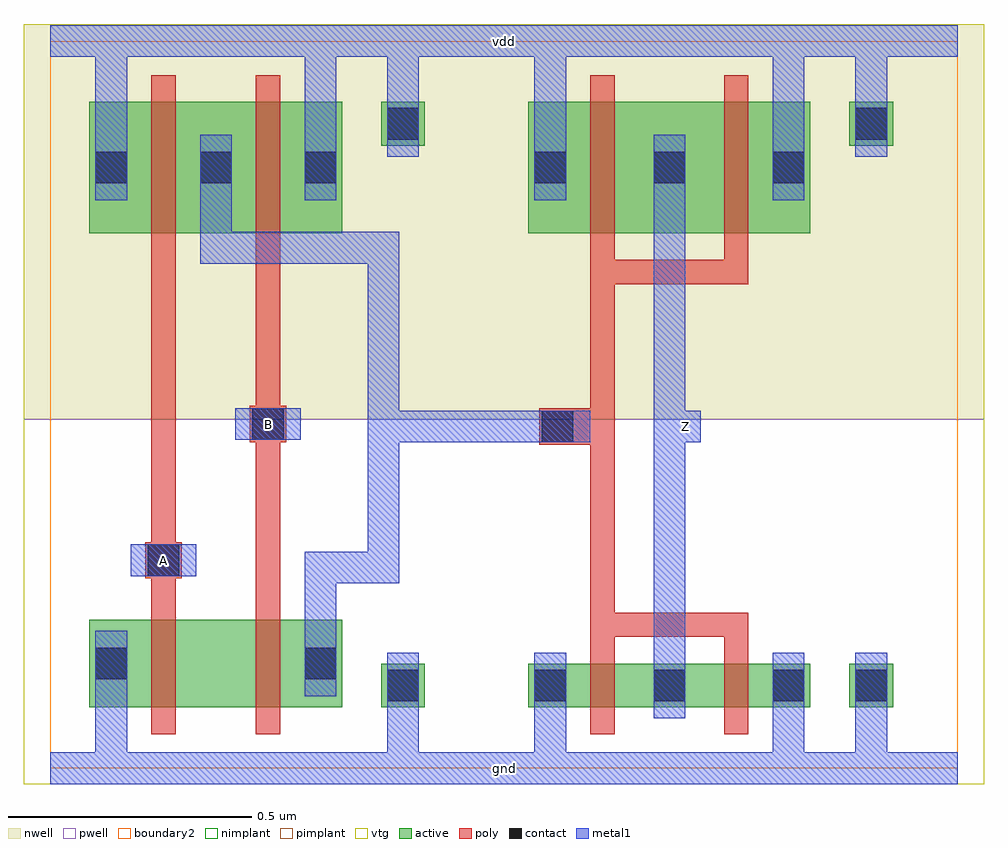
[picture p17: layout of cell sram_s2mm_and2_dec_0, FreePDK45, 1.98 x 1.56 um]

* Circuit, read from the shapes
.subckt sram_s2mm_and2_dec_0 A B Z gnd vdd
M1 sram_s2mm_pnand2_0/sram_s2mm_nmos_m1_w0_180_sm1_dactive_2/D A gnd gnd nfet w=0.18u l=0.05u
M2 sram_s2mm_pinv_0_1/A B sram_s2mm_pnand2_0/sram_s2mm_nmos_m1_w0_180_sm1_dactive_2/D gnd nfet w=0.18u l=0.05u
M3 Z sram_s2mm_pinv_0_1/A gnd gnd nfet w=0.09u l=0.05u m=2
M4 sram_s2mm_pinv_0_1/A A vdd vdd pfet w=0.27u l=0.05u
M5 vdd B sram_s2mm_pinv_0_1/A vdd pfet w=0.27u l=0.05u
M6 Z sram_s2mm_pinv_0_1/A vdd vdd pfet w=0.27u l=0.05u m=2
.ends

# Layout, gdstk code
import gdstk
lib = gdstk.Library(unit=1e-6, precision=5e-10)
def R(c, l, rs):  # rectangles x0, y0, x1, y1
    for r in rs: c.add(gdstk.rectangle(r[:2], r[2:], *l))
def A(c, l, x, y, w, h, nx, ny, dx, dy):  # array of equal rectangles
    R(c, l, [(x+i*dx, y+j*dy, x+i*dx+w, y+j*dy+h) for i in range(nx) for j in range(ny)])
active = (1, 0)
pwell = (2, 0)
nwell = (3, 0)
nimplant = (4, 0)
pimplant = (5, 0)
vtg = (6, 0)
poly = (9, 0)
contact = (10, 0)
metal1 = (11, 0)
boundary2 = (239, 0)

sram_s2mm_contact_11 = lib.new_cell('sram_s2mm_contact_11')
R(sram_s2mm_contact_11, active, [(0,0.0225,0.09,0.1125)])
R(sram_s2mm_contact_11, nwell, [(-0.055,-0.0325,0.145,0.1675)])
R(sram_s2mm_contact_11, pimplant, [(0,0.0225,0.09,0.1125)])
R(sram_s2mm_contact_11, contact, [(0.0125,0.035,0.0775,0.1)])
R(sram_s2mm_contact_11, metal1, [(0.0125,0,0.0775,0.135)])
R(sram_s2mm_contact_11, boundary2, [(-0.055,-0.0325,0.145,0.1675)])

sram_s2mm_pmos_m1_w0_270 = lib.new_cell('sram_s2mm_pmos_m1_w0_270_sm1_dm1')
R(sram_s2mm_pmos_m1_w0_270, active, [(0,0,0.305,0.27)])
R(sram_s2mm_pmos_m1_w0_270, nwell, [(-0.08,-0.08,0.385,0.35)])
R(sram_s2mm_pmos_m1_w0_270, pimplant, [(0,0,0.305,0.27)])
R(sram_s2mm_pmos_m1_w0_270, vtg, [(-0.08,-0.08,0.385,0.35)])
R(sram_s2mm_pmos_m1_w0_270, poly, [(0.1275,-0.055,0.1775,0.325), (0.1275,-0.055,0.1775,0.325)])
R(sram_s2mm_pmos_m1_w0_270, metal1, [(0.0125,0.0675,0.0775,0.2025), (0.2275,0.0675,0.2925,0.2025)])
R(sram_s2mm_pmos_m1_w0_270, boundary2, [(-0.08,-0.08,0.385,0.35)])
sram_s2mm_pmos_m1_w0_270.add(gdstk.Reference(sram_s2mm_contact_11, (0,0.0675)))
sram_s2mm_pmos_m1_w0_270.add(gdstk.Reference(sram_s2mm_contact_11, (0.215,0.0675)))
sram_s2mm_pmos_m1_w0_270.add(gdstk.Label('G', (0.1525,0.135), layer=9, texttype=0))
sram_s2mm_pmos_m1_w0_270.add(gdstk.Label('S', (0.045,0.135), layer=11, texttype=0))
sram_s2mm_pmos_m1_w0_270.add(gdstk.Label('D', (0.26,0.135), layer=11, texttype=0))

sram_s2mm_contact_10 = lib.new_cell('sram_s2mm_contact_10')
R(sram_s2mm_contact_10, active, [(0,0.0225,0.09,0.1125)])
R(sram_s2mm_contact_10, pwell, [(-0.055,-0.0325,0.145,0.1675)])
R(sram_s2mm_contact_10, nimplant, [(0,0.0225,0.09,0.1125)])
R(sram_s2mm_contact_10, contact, [(0.0125,0.035,0.0775,0.1)])
R(sram_s2mm_contact_10, metal1, [(0.0125,0,0.0775,0.135)])
R(sram_s2mm_contact_10, boundary2, [(-0.055,-0.0325,0.145,0.1675)])

sram_s2mm_nmos_m1_w0_180 = lib.new_cell('sram_s2mm_nmos_m1_w0_180_sm1_dactive')
R(sram_s2mm_nmos_m1_w0_180, active, [(0,0,0.305,0.18), (0.215,0.045,0.305,0.135)])
R(sram_s2mm_nmos_m1_w0_180, pwell, [(-0.08,-0.08,0.385,0.26)])
R(sram_s2mm_nmos_m1_w0_180, nimplant, [(0,0,0.305,0.18)])
R(sram_s2mm_nmos_m1_w0_180, vtg, [(-0.08,-0.08,0.385,0.26)])
R(sram_s2mm_nmos_m1_w0_180, poly, [(0.1275,-0.055,0.1775,0.235), (0.1275,-0.055,0.1775,0.235)])
R(sram_s2mm_nmos_m1_w0_180, metal1, [(0.0125,0.0225,0.0775,0.1575)])
R(sram_s2mm_nmos_m1_w0_180, boundary2, [(-0.08,-0.08,0.385,0.26)])
sram_s2mm_nmos_m1_w0_180.add(gdstk.Reference(sram_s2mm_contact_10, (0,0.0225)))
sram_s2mm_nmos_m1_w0_180.add(gdstk.Label('G', (0.1525,0.09), layer=9, texttype=0))
sram_s2mm_nmos_m1_w0_180.add(gdstk.Label('S', (0.045,0.09), layer=11, texttype=0))
sram_s2mm_nmos_m1_w0_180.add(gdstk.Label('D', (0.26,0.09), layer=1, texttype=0))

c_sram_s2mm_nmos_m1_w0_180 = lib.new_cell('sram_s2mm_nmos_m1_w0_180_sactive_dm1')
R(c_sram_s2mm_nmos_m1_w0_180, active, [(0,0,0.305,0.18), (0,0.045,0.09,0.135)])
R(c_sram_s2mm_nmos_m1_w0_180, pwell, [(-0.08,-0.08,0.385,0.26)])
R(c_sram_s2mm_nmos_m1_w0_180, nimplant, [(0,0,0.305,0.18)])
R(c_sram_s2mm_nmos_m1_w0_180, vtg, [(-0.08,-0.08,0.385,0.26)])
R(c_sram_s2mm_nmos_m1_w0_180, poly, [(0.1275,-0.055,0.1775,0.235), (0.1275,-0.055,0.1775,0.235)])
R(c_sram_s2mm_nmos_m1_w0_180, metal1, [(0.2275,0.0225,0.2925,0.1575)])
R(c_sram_s2mm_nmos_m1_w0_180, boundary2, [(-0.08,-0.08,0.385,0.26)])
c_sram_s2mm_nmos_m1_w0_180.add(gdstk.Reference(sram_s2mm_contact_10, (0.215,0.0225)))
c_sram_s2mm_nmos_m1_w0_180.add(gdstk.Label('G', (0.1525,0.09), layer=9, texttype=0))
c_sram_s2mm_nmos_m1_w0_180.add(gdstk.Label('S', (0.045,0.09), layer=1, texttype=0))
c_sram_s2mm_nmos_m1_w0_180.add(gdstk.Label('D', (0.26,0.09), layer=11, texttype=0))

sram_s2mm_contact_12 = lib.new_cell('sram_s2mm_contact_12')
R(sram_s2mm_contact_12, active, [(0,0.0225,0.09,0.1125)])
R(sram_s2mm_contact_12, nwell, [(-0.055,-0.0325,0.145,0.1675)])
R(sram_s2mm_contact_12, nimplant, [(0,0.0225,0.09,0.1125)])
R(sram_s2mm_contact_12, contact, [(0.0125,0.035,0.0775,0.1)])
R(sram_s2mm_contact_12, metal1, [(0.0125,0,0.0775,0.135)])
R(sram_s2mm_contact_12, boundary2, [(-0.055,-0.0325,0.145,0.1675)])

sram_s2mm_contact_13 = lib.new_cell('sram_s2mm_contact_13')
R(sram_s2mm_contact_13, active, [(0,0.0225,0.09,0.1125)])
R(sram_s2mm_contact_13, pwell, [(-0.055,-0.0325,0.145,0.1675)])
R(sram_s2mm_contact_13, pimplant, [(0,0.0225,0.09,0.1125)])
R(sram_s2mm_contact_13, contact, [(0.0125,0.035,0.0775,0.1)])
R(sram_s2mm_contact_13, metal1, [(0.0125,0,0.0775,0.135)])
R(sram_s2mm_contact_13, boundary2, [(-0.055,-0.0325,0.145,0.1675)])

sram_s2mm_contact_14 = lib.new_cell('sram_s2mm_contact_14')
R(sram_s2mm_contact_14, poly, [(0.03,0,0.105,0.075)])
R(sram_s2mm_contact_14, contact, [(0.035,0.005,0.1,0.07)])
R(sram_s2mm_contact_14, metal1, [(0,0.005,0.135,0.07)])
R(sram_s2mm_contact_14, boundary2, [(0,0,0.135,0.075)])

sram_s2mm_pnand2 = lib.new_cell('sram_s2mm_pnand2')
R(sram_s2mm_pnand2, pwell, [(-0.055,-0.0325,0.9575,0.7175)])
R(sram_s2mm_pnand2, nwell, [(-0.055,0.7175,0.9575,1.53)])
R(sram_s2mm_pnand2, vtg, [(-0.055,-0.0325,0.9575,0.7175), (-0.055,0.7175,0.9575,1.53)])
R(sram_s2mm_pnand2, poly, [(0.2075,0.36,0.2575,1.045), (0.4225,0.36,0.4725,1.045), (0.2075,0.39,0.2325,0.465), (0.4225,0.67,0.4475,0.745)])
R(sram_s2mm_pnand2, metal1, [(0,-0.0325,0.9025,0.0325), (0.0925,-0.0325,0.1575,0.1475), (0.6925,0,0.7575,0.17), (0.5225,0.2825,0.5875,0.4125), (0.5225,0.38,0.5875,0.445), (0.555,0.38,0.685,0.445), (0.6525,0.38,0.7175,0.445), (0.165,0.395,0.3,0.46), (0.6525,0.4125,0.7175,1.07), (0.38,0.675,0.515,0.74), (0.3075,1.0375,0.3725,1.1025), (0.34,1.0375,0.685,1.1025), (0.6525,1.0375,0.7175,1.1025), (0.3075,1.07,0.3725,1.1675), (0.0925,1.1675,0.1575,1.5275), (0.5225,1.1675,0.5875,1.5275), (0.6925,1.325,0.7575,1.495), (0,1.4625,0.9025,1.5275)])
R(sram_s2mm_pnand2, boundary2, [(0,0,0.9025,1.495), (0,0,0.9025,1.495)])
sram_s2mm_pnand2.add(gdstk.Reference(sram_s2mm_pmos_m1_w0_270, (0.08,1.1)))
sram_s2mm_pnand2.add(gdstk.Reference(sram_s2mm_pmos_m1_w0_270, (0.295,1.1)))
sram_s2mm_pnand2.add(gdstk.Reference(sram_s2mm_nmos_m1_w0_180, (0.08,0.125)))
sram_s2mm_pnand2.add(gdstk.Reference(c_sram_s2mm_nmos_m1_w0_180, (0.295,0.125)))
sram_s2mm_pnand2.add(gdstk.Reference(sram_s2mm_contact_12, (0.68,1.2575)))
sram_s2mm_pnand2.add(gdstk.Reference(sram_s2mm_contact_13, (0.68,0.1025)))
sram_s2mm_pnand2.add(gdstk.Reference(sram_s2mm_contact_14, (0.165,0.39)))
sram_s2mm_pnand2.add(gdstk.Reference(sram_s2mm_contact_14, (0.38,0.67)))
sram_s2mm_pnand2.add(gdstk.Label('Z', (0.685,1.07), layer=11, texttype=0))
sram_s2mm_pnand2.add(gdstk.Label('gnd', (0.451,0), layer=11, texttype=0))
sram_s2mm_pnand2.add(gdstk.Label('vdd', (0.451,1.495), layer=11, texttype=0))
sram_s2mm_pnand2.add(gdstk.Label('A', (0.2325,0.4275), layer=11, texttype=0))
sram_s2mm_pnand2.add(gdstk.Label('B', (0.4475,0.7075), layer=11, texttype=0))

sram_s2mm_pmos_m2_w0_270 = lib.new_cell('sram_s2mm_pmos_m2_w0_270_sm1_dm1_da_p')
R(sram_s2mm_pmos_m2_w0_270, active, [(0,0,0.58,0.27)])
R(sram_s2mm_pmos_m2_w0_270, nwell, [(-0.08,-0.08,0.66,0.35)])
R(sram_s2mm_pmos_m2_w0_270, pimplant, [(0,0,0.58,0.27)])
R(sram_s2mm_pmos_m2_w0_270, vtg, [(-0.08,-0.08,0.66,0.35)])
R(sram_s2mm_pmos_m2_w0_270, poly, [(0.1275,-0.105,0.4525,-0.055), (0.1275,-0.055,0.1775,0.325), (0.4025,-0.055,0.4525,0.325)])
A(sram_s2mm_pmos_m2_w0_270, metal1, 0.0125, 0.0675, 0.065, 0.135, 3, 1, 0.245, 0)
R(sram_s2mm_pmos_m2_w0_270, boundary2, [(-0.08,-0.105,0.66,0.35)])
sram_s2mm_pmos_m2_w0_270.add(gdstk.Reference(sram_s2mm_contact_11, (0,0.0675)))
sram_s2mm_pmos_m2_w0_270.add(gdstk.Reference(sram_s2mm_contact_11, (0.245,0.0675)))
sram_s2mm_pmos_m2_w0_270.add(gdstk.Reference(sram_s2mm_contact_11, (0.49,0.0675)))
sram_s2mm_pmos_m2_w0_270.add(gdstk.Label('G', (0.29,-0.08), layer=9, texttype=0))
sram_s2mm_pmos_m2_w0_270.add(gdstk.Label('S', (0.535,0.135), layer=11, texttype=0))
sram_s2mm_pmos_m2_w0_270.add(gdstk.Label('S', (0.045,0.135), layer=11, texttype=0))
sram_s2mm_pmos_m2_w0_270.add(gdstk.Label('D', (0.29,0.135), layer=11, texttype=0))

sram_s2mm_nmos_m2_w0_090 = lib.new_cell('sram_s2mm_nmos_m2_w0_090_sm1_dm1_da_p')
R(sram_s2mm_nmos_m2_w0_090, active, [(0,0,0.58,0.09)])
R(sram_s2mm_nmos_m2_w0_090, pwell, [(-0.08,-0.08,0.66,0.17)])
R(sram_s2mm_nmos_m2_w0_090, nimplant, [(0,0,0.58,0.09)])
R(sram_s2mm_nmos_m2_w0_090, vtg, [(-0.08,-0.08,0.66,0.17)])
R(sram_s2mm_nmos_m2_w0_090, poly, [(0.1275,-0.055,0.1775,0.145), (0.4025,-0.055,0.4525,0.145), (0.1275,0.145,0.4525,0.195)])
A(sram_s2mm_nmos_m2_w0_090, metal1, 0.0125, -0.0225, 0.065, 0.135, 3, 1, 0.245, 0)
R(sram_s2mm_nmos_m2_w0_090, boundary2, [(-0.08,-0.08,0.66,0.195)])
sram_s2mm_nmos_m2_w0_090.add(gdstk.Reference(sram_s2mm_contact_10, (0,-0.0225)))
sram_s2mm_nmos_m2_w0_090.add(gdstk.Reference(sram_s2mm_contact_10, (0.245,-0.0225)))
sram_s2mm_nmos_m2_w0_090.add(gdstk.Reference(sram_s2mm_contact_10, (0.49,-0.0225)))
sram_s2mm_nmos_m2_w0_090.add(gdstk.Label('G', (0.29,0.17), layer=9, texttype=0))
sram_s2mm_nmos_m2_w0_090.add(gdstk.Label('S', (0.535,0.045), layer=11, texttype=0))
sram_s2mm_nmos_m2_w0_090.add(gdstk.Label('S', (0.045,0.045), layer=11, texttype=0))
sram_s2mm_nmos_m2_w0_090.add(gdstk.Label('D', (0.29,0.045), layer=11, texttype=0))

sram_s2mm_pinv_0 = lib.new_cell('sram_s2mm_pinv_0')
R(sram_s2mm_pinv_0, pwell, [(-0.055,-0.0325,1.0175,0.7175)])
R(sram_s2mm_pinv_0, nwell, [(-0.055,0.7175,1.0175,1.53)])
R(sram_s2mm_pinv_0, vtg, [(-0.055,-0.0325,1.0175,0.7175), (-0.055,0.7175,1.0175,1.53)])
R(sram_s2mm_pinv_0, poly, [(0.2075,0.32,0.2575,0.995), (0.14,0.665,0.2075,0.74)])
R(sram_s2mm_pinv_0, metal1, [(0,-0.0325,0.9625,0.0325), (0.0925,-0.0325,0.1575,0.1025), (0.5825,-0.0325,0.6475,0.1025), (0.7525,0,0.8175,0.17), (0.3375,0.1025,0.4025,1.3025), (0.0725,0.67,0.2075,0.735), (0.37,0.67,0.435,0.735), (0.0925,1.1675,0.1575,1.5275), (0.5825,1.1675,0.6475,1.5275), (0.7525,1.325,0.8175,1.495), (0,1.4625,0.9625,1.5275)])
R(sram_s2mm_pinv_0, boundary2, [(0,0,0.9625,1.495), (0,0,0.9625,1.495)])
sram_s2mm_pinv_0.add(gdstk.Reference(sram_s2mm_pmos_m2_w0_270, (0.08,1.1)))
sram_s2mm_pinv_0.add(gdstk.Reference(sram_s2mm_nmos_m2_w0_090, (0.08,0.125)))
sram_s2mm_pinv_0.add(gdstk.Reference(sram_s2mm_contact_12, (0.74,1.2575)))
sram_s2mm_pinv_0.add(gdstk.Reference(sram_s2mm_contact_13, (0.74,0.1025)))
sram_s2mm_pinv_0.add(gdstk.Reference(sram_s2mm_contact_14, (0.0725,0.665)))
sram_s2mm_pinv_0.add(gdstk.Label('A', (0.14,0.7025), layer=11, texttype=0))
sram_s2mm_pinv_0.add(gdstk.Label('Z', (0.4025,0.7025), layer=11, texttype=0))
sram_s2mm_pinv_0.add(gdstk.Label('gnd', (0.481,0), layer=11, texttype=0))
sram_s2mm_pinv_0.add(gdstk.Label('vdd', (0.481,1.495), layer=11, texttype=0))

sram_s2mm_and2_dec_0 = lib.new_cell('sram_s2mm_and2_dec_0')
R(sram_s2mm_and2_dec_0, metal1, [(0,-0.0325,1.865,0.0325), (0.165,0.395,0.3,0.46), (0.6525,0.67,0.7175,0.735), (0.685,0.67,1.0425,0.735), (1.2725,0.67,1.3375,0.735), (0.38,0.675,0.515,0.74), (0.6525,0.7025,0.7175,1.07), (0,1.4625,1.865,1.5275)])
R(sram_s2mm_and2_dec_0, boundary2, [(0,0,1.865,1.495)])
sram_s2mm_and2_dec_0.add(gdstk.Reference(sram_s2mm_pnand2, (0,0)))
sram_s2mm_and2_dec_0.add(gdstk.Reference(sram_s2mm_pinv_0, (0.9025,0)))
sram_s2mm_and2_dec_0.add(gdstk.Label('Z', (1.305,0.7025), layer=11, texttype=0))
sram_s2mm_and2_dec_0.add(gdstk.Label('A', (0.2325,0.4275), layer=11, texttype=0))
sram_s2mm_and2_dec_0.add(gdstk.Label('B', (0.4475,0.7075), layer=11, texttype=0))
sram_s2mm_and2_dec_0.add(gdstk.Label('gnd', (0.9325,0), layer=11, texttype=0))
sram_s2mm_and2_dec_0.add(gdstk.Label('vdd', (0.9325,1.495), layer=11, texttype=0))

lib.write_gds('sram_s2mm_and2_dec_0.gds')
